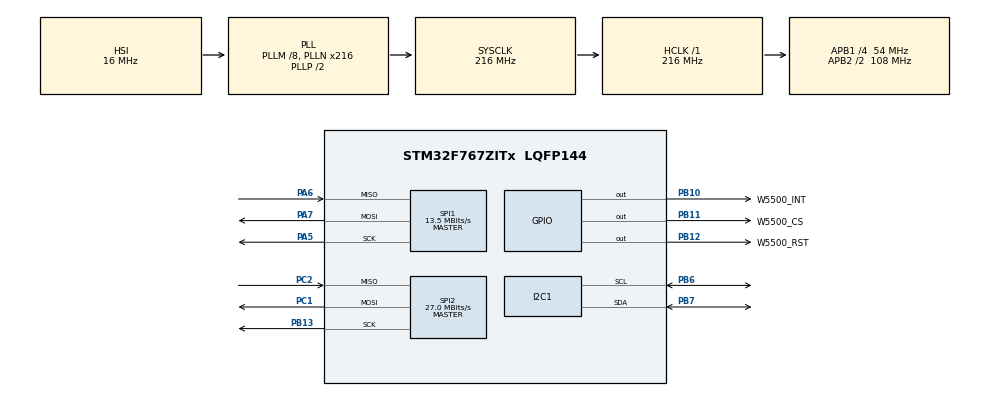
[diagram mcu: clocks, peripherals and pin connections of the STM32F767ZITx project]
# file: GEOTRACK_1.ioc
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CORTEX_M7.default_mode_Activation=1
I2C1.Timing=0x20404768
Mcu.Family=STM32F7
Mcu.Name=STM32F767ZITx
Mcu.Package=LQFP144
NVIC.PriorityGroup=NVIC_PRIORITYGROUP_4
PA5.Mode=Full_Duplex_Master
PA5.Signal=SPI1_SCK
PA6.Mode=Full_Duplex_Master
PA6.Signal=SPI1_MISO
PA7.Mode=Full_Duplex_Master
PA7.Signal=SPI1_MOSI
PB10.GPIO_Label=W5500_INT
PB10.Signal=GPIO_Output
PB11.GPIO_Label=W5500_CS
PB11.GPIO_PuPd=GPIO_PULLUP
PB11.Signal=GPIO_Output
PB12.GPIO_Label=W5500_RST
PB12.Signal=GPIO_Output
PB13.Mode=Full_Duplex_Master
PB13.Signal=SPI2_SCK
PB6.Mode=I2C
PB6.Signal=I2C1_SCL
PB7.Mode=I2C
PB7.Signal=I2C1_SDA
PC1.Mode=Full_Duplex_Master
PC1.Signal=SPI2_MOSI
PC14/OSC32_IN.Mode=LSE-External-Oscillator
PC14/OSC32_IN.Signal=RCC_OSC32_IN
PC15/OSC32_OUT.Mode=LSE-External-Oscillator
PC15/OSC32_OUT.Signal=RCC_OSC32_OUT
PC2.Mode=Full_Duplex_Master
PC2.Signal=SPI2_MISO
PH0/OSC_IN.Mode=HSE-External-Oscillator
PH0/OSC_IN.Signal=RCC_OSC_IN
PH1/OSC_OUT.Mode=HSE-External-Oscillator
PH1/OSC_OUT.Signal=RCC_OSC_OUT
ProjectManager.HeapSize=0x200
ProjectManager.StackSize=0x400
ProjectManager.TargetToolchain=MDK-ARM V5.32
RCC.AHBFreq_Value=216000000
RCC.APB1CLKDivider=RCC_HCLK_DIV4
RCC.APB1Freq_Value=54000000
RCC.APB1TimFreq_Value=108000000
RCC.APB2CLKDivider=RCC_HCLK_DIV2
RCC.APB2Freq_Value=108000000
RCC.APB2TimFreq_Value=216000000
RCC.CortexFreq_Value=216000000
RCC.HCLKFreq_Value=216000000
RCC.HSE_VALUE=25000000
RCC.HSI_VALUE=16000000
RCC.PLLM=8
RCC.PLLN=216
RCC.SYSCLKFreq_VALUE=216000000
RCC.SYSCLKSource=RCC_SYSCLKSOURCE_PLLCLK
RCC.USBFreq_Value=216000000
RCC.VCOOutputFreq_Value=432000000
SPI1.BaudRatePrescaler=SPI_BAUDRATEPRESCALER_8
SPI1.CalculateBaudRate=13.5 MBits/s
SPI1.DataSize=SPI_DATASIZE_8BIT
SPI1.Direction=SPI_DIRECTION_2LINES
SPI1.Mode=SPI_MODE_MASTER
SPI1.VirtualType=VM_MASTER
SPI2.CalculateBaudRate=27.0 MBits/s
SPI2.Direction=SPI_DIRECTION_2LINES
SPI2.Mode=SPI_MODE_MASTER
SPI2.VirtualType=VM_MASTER
board=custom

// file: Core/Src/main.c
/* USER CODE BEGIN Header */
/**
  ******************************************************************************
  * @file           : main.c
  * @brief          : Main program body
  ******************************************************************************
  * @attention
  *
  * Copyright (c) 2023 STMicroelectronics.
  * All rights reserved.
  *
  * This software is licensed under terms that can be found in the LICENSE file
  * in the root directory of this software component.
  * If no LICENSE file comes with this software, it is provided AS-IS.
  *
  ******************************************************************************
  */
/* USER CODE END Header */
#include "main.h"

/* USER CODE BEGIN Includes */
#include "wizchip_conf.h"
#include "socket.h"
#include "loopback.h"

#define HTTP_SOCKET 0
#define PORT_TCPS 5000
#define DATA_BUF_SIZE 2048
uint8_t gDATABUF [DATA_BUF_SIZE];

//cmd from pc names:
#define pcCmd_IP     (0x0001) // IP setting
#define pcCmd_MASK   (0x0002) // MASK setting
#define pcCmd_PORT   (0x0003) // PORT setting
#define pcCmd_RTC    (0x0004) // RTC setting
#define pcCmd_VERS   (0x0005) // Firmware Version setting
#define pcCmd_SRT    (0x0006) // Sample Rate setting
#define pcCmd_SNCH   (0x0007) // sensor - channel setting
#define pcCmd_PRS0   (0x0008) // pressure 0
#define pcCmd_PRS1   (0x000A) // pressure 1
#define pcCmd_WGHT   (0x000B) // weight
#define pcCmd_TRNS_R (0x000C) // turns (drum), read cmd
#define pcCmd_TRNS_W (0x000D) // turns (drum), write cmd
#define pcCmd_RESET  (0x000E) // reset device
#define pcCmd_WTIME  (0x000F) // find out the operating time of the device
#define pcCmd_LOGS   (0x0010) // get logs
#define pcCmd_HLTH   (0x0011) // get heath
#define pcCmd_RFD    (0x0012) // setting transmitted data to RFD (RFD MODE)
#define pcCmd_FUPD   (0x0013) // firmware update

/* USER CODE END Includes */

/* USER CODE BEGIN PTD */

uint16_t cmdFromPC = 0;

typedef struct {
  uint16_t deviceNumber; //device part number
	uint16_t sensorChannel;
	uint16_t pressure_0;
	uint16_t pressure_1;
	uint16_t weight;
	signed int turnsCounter; // max size -2147483648  +2147483647
	uint16_t pumpFrequency;
	uint16_t rfdMode;
} __attribute__((packed, aligned(1))) DataToPC_t;

const uint8_t image_data_MonoFont1_6x13[] =
{
0x00, 0x00, 0x00, 0x00, 0x00, 0x00, 0x00, 0x00, 0x00, 0x00, 0x00, 0x00,
0x00, 0x00, 0x00, 0x00, 0x00, 0x00, 0x00, 0x00, 0x00, 0x00, 0x00, 0x00,
0x00, 0x00, 0x00, 0x00, 0x00, 0x00, 0x00, 0x00, 0x00, 0x00, 0x00, 0x00,
0x00, 0x00, 0x00, 0x00, 0x00, 0x00, 0x00, 0x00, 0x00, 0x00, 0x00, 0x00,
0x00, 0x00, 0x00, 0x00, 0x00, 0x00, 0x00, 0x00, 0x00, 0x00, 0x00, 0x00,
0x00, 0x00, 0x00, 0x00, 0x00, 0x00, 0x00, 0x00, 0x00, 0x00, 0x00, 0x00,
0x00, 0x00, 0x00, 0x00, 0x00, 0x00, 0x00, 0x00, 0x00, 0x00, 0x00, 0x00,
0x00, 0x00, 0x00, 0x00, 0x00, 0x00, 0x00, 0x00, 0x00, 0x00, 0x00, 0x00,
0x00, 0x00, 0x00, 0x00, 0x00, 0x00, 0x00, 0x00, 0x00, 0x00, 0x00, 0x00,
0x00, 0x00, 0x00, 0x00, 0x00, 0x00, 0x00, 0x00, 0x00, 0x00, 0x00, 0x00,
0x00, 0x00, 0x00, 0x00, 0x00, 0x00, 0x00, 0x00, 0x00, 0x00, 0x00, 0x00,
0x00, 0x00, 0x00, 0x00, 0x00, 0x00, 0x00, 0x00, 0x00, 0x00, 0x00, 0x00,
0x00, 0x00, 0x00, 0x00, 0x00, 0x00, 0x00, 0x00, 0x00, 0x00, 0x00, 0x00,
0x00, 0x00, 0x00, 0x00, 0x00, 0x00, 0x00, 0x00, 0x00, 0x00, 0x00, 0x00,
0x00, 0x00, 0x00, 0x00, 0x00, 0x00, 0x00, 0x00, 0x00, 0x00, 0x00, 0x00,
0x00, 0x00, 0x00, 0x00, 0x00, 0x00, 0x00, 0x00, 0x00, 0x00, 0x00, 0x00,
0x00, 0x00, 0x00, 0x00, 0x00, 0x00, 0x00, 0x00, 0x00, 0x00, 0x00, 0x00,
0x00, 0x00, 0x00, 0x00, 0x00, 0x00, 0x00, 0x00, 0x00, 0x00, 0x00, 0x00,
0x00, 0x00, 0x00, 0x00, 0x00, 0x00, 0x00, 0x00, 0x00, 0x00, 0x00, 0x00,
0x00, 0x00, 0x00, 0x00, 0x00, 0x00, 0x00, 0x00, 0x00, 0x00, 0x00, 0x00,
0x00, 0x00, 0x00, 0x00, 0x00, 0x00, 0x00, 0x00, 0x00, 0x00, 0x00, 0x00,
0x00, 0x00, 0x00, 0x00, 0x00, 0x00, 0x00, 0x00, 0x00, 0x00, 0x00, 0x00,
0x00, 0x00, 0x00, 0x00, 0x00, 0x00, 0x00, 0x00, 0x00, 0x00, 0x00, 0x00,
0x00, 0x00, 0x00, 0x00, 0x00, 0x00, 0x00, 0x00, 0x00, 0x00, 0x00, 0x00,
0x00, 0x00, 0x00, 0x00, 0x00, 0x00, 0x00, 0x00, 0x00, 0x00, 0x00, 0x00,
0x00, 0x00, 0x00, 0x00, 0x00, 0x00, 0x00, 0x00, 0x00, 0x00, 0x00, 0x00,
0x00, 0x00, 0x00, 0x00, 0x00, 0x00, 0x00, 0x00, 0x00, 0x00, 0x00, 0x00,
0x00, 0x00, 0x00, 0x00, 0x00, 0x00, 0x00, 0x00, 0x00, 0x00, 0x00, 0x00,
0x00, 0x00, 0x00, 0x00, 0x00, 0x00, 0x00, 0x00, 0x00, 0x00, 0x00, 0x00,
0x00, 0x00, 0x00, 0x00, 0x00, 0x00, 0x00, 0x00, 0x00, 0x00, 0x00, 0x00,
0x00, 0x00, 0x00, 0x00, 0x00, 0x00, 0x00, 0x00, 0x00, 0x00, 0x00, 0x00,
0x00, 0x00, 0x00, 0x00, 0x00, 0x00, 0x00, 0x00, 0x00, 0x00, 0x00, 0x00,
0x00, 0x00, 0x00, 0x00, 0x00, 0x00, 0x00, 0x00, 0x00, 0x00, 0x00, 0x00,
0x00, 0x00, 0x00, 0xff, 0x00, 0x00, 0x00, 0x00, 0x00, 0x40, 0x00, 0x00,
0x00, 0x00, 0xc0, 0x40, 0x80, 0x00, 0x00, 0x00, 0x00, 0x00, 0x00, 0x00,
0x11, 0x1f, 0xf1, 0x13, 0xfd, 0x10, 0xc0, 0x00, 0x00, 0xc0, 0x00, 0x00,
0x00, 0x70, 0xdf, 0xfe, 0xc3, 0x00, 0x00, 0x40, 0xe0, 0xc0, 0x80, 0x00,
0x88, 0x73, 0x04, 0x18, 0x61, 0x82, 0xc0, 0x00, 0x00, 0x00, 0x80, 0x40,
0x43, 0xa4, 0xb8, 0xe4, 0x03, 0x03, 0x80, 0x40, 0x40, 0x40, 0x80, 0xc0,
0x00, 0x00, 0xe0, 0x00, 0x00, 0x00, 0x00, 0x00, 0x00, 0x00, 0x00, 0x00,
0x00, 0x00, 0x00, 0xff, 0x00, 0x00, 0x00, 0x00, 0x00, 0xe0, 0x00, 0x00,
0x00, 0x00, 0x00, 0xff, 0x00, 0x00, 0x00, 0x00, 0x00, 0xe0, 0x00, 0x00,
0x00, 0x40, 0xf0, 0xf0, 0x40, 0x00, 0x00, 0x00, 0x00, 0x00, 0x00, 0x00,
0x00, 0x02, 0x02, 0x07, 0x02, 0x02, 0x00, 0x00, 0x00, 0x80, 0x00, 0x00,
0x00, 0x00, 0x00, 0x00, 0x00, 0x00, 0x00, 0x00, 0x60, 0x00, 0x00, 0x00,
0x00, 0x00, 0x02, 0x02, 0x02, 0x02, 0x00, 0x00, 0x00, 0x00, 0x00, 0x00,
0x00, 0x00, 0x00, 0x00, 0x00, 0x00, 0x00, 0x00, 0x00, 0x40, 0x00, 0x00,
0x00, 0x03, 0x0c, 0x30, 0xc0, 0x00, 0xe0, 0x00, 0x00, 0x00, 0x00, 0x00,
0x00, 0x7f, 0x80, 0x80, 0x7f, 0x00, 0x00, 0x80, 0x40, 0x40, 0x80, 0x00,
0x00, 0x00, 0x20, 0x20, 0x7f, 0x00, 0x00, 0x00, 0x00, 0x00, 0xc0, 0x00,
0x00, 0x40, 0x83, 0x8c, 0x70, 0x00, 0x00, 0xc0, 0x40, 0x40, 0x40, 0x00,
0x00, 0x88, 0x88, 0x7c, 0x07, 0x00, 0x00, 0x40, 0x40, 0x40, 0x80, 0x00,
0x07, 0xf9, 0x01, 0x07, 0x01, 0x00, 0x00, 0x00, 0x00, 0xc0, 0x00, 0x00,
0x00, 0x00, 0xf8, 0x88, 0x88, 0x87, 0x00, 0x00, 0x40, 0x40, 0x40, 0x80,
0x3f, 0x48, 0x88, 0x88, 0x0c, 0x07, 0x80, 0x40, 0x40, 0x40, 0x40, 0x80,
0x00, 0xc0, 0x80, 0x80, 0x9f, 0xe0, 0x00, 0x00, 0x00, 0xc0, 0x00, 0x00,
0x07, 0x78, 0x88, 0x88, 0x78, 0x07, 0x80, 0x40, 0x40, 0x40, 0x40, 0x80,
0x00, 0x78, 0x84, 0x84, 0x85, 0x7e, 0x00, 0x00, 0x40, 0x40, 0x80, 0x00,
0x00, 0x00, 0x00, 0x11, 0x00, 0x00, 0x00, 0x00, 0x00, 0x00, 0x00, 0x00,
0x00, 0x00, 0x00, 0x04, 0x00, 0x00, 0x00, 0x00, 0x00, 0x60, 0x00, 0x00,
0x00, 0x00, 0x03, 0x03, 0x04, 0x04, 0x00, 0x00, 0x00, 0x00, 0x80, 0x80,
0x00, 0x05, 0x05, 0x05, 0x05, 0x00, 0x00, 0x00, 0x00, 0x00, 0x00, 0x00,
0x00, 0x00, 0x04, 0x02, 0x03, 0x01, 0x00, 0x00, 0x80, 0x80, 0x00, 0x00,
0x40, 0x80, 0x8f, 0x88, 0x70, 0x00, 0x00, 0x00, 0x40, 0x00, 0x00, 0x00,
0x61, 0x7f, 0xa1, 0xa1, 0xbf, 0x41, 0x80, 0x80, 0x40, 0x40, 0x40, 0x40,
0x00, 0x07, 0x3a, 0xe2, 0x1e, 0x01, 0x00, 0xc0, 0x00, 0x00, 0x00, 0xc0,
0x00, 0xff, 0x88, 0x88, 0x78, 0x07, 0x00, 0xc0, 0x40, 0x40, 0x40, 0x80,
0x00, 0x00, 0x7f, 0x80, 0x80, 0x80, 0x00, 0x00, 0x80, 0x40, 0x40, 0x40,
0x00, 0xff, 0x80, 0x80, 0x7f, 0x00, 0x00, 0xc0, 0x40, 0x40, 0x80, 0x00,
0x00, 0x00, 0xff, 0x88, 0x88, 0x80, 0x00, 0x00, 0xc0, 0x40, 0x40, 0x40,
0x00, 0x00, 0xff, 0x88, 0x88, 0x88, 0x00, 0x00, 0xc0, 0x00, 0x00, 0x00,
0x00, 0x7f, 0x80, 0x88, 0x8f, 0x00, 0x00, 0x80, 0x40, 0x40, 0xc0, 0x00,
0x00, 0xff, 0x08, 0x08, 0xff, 0x00, 0x00, 0xc0, 0x00, 0x00, 0xc0, 0x00,
0x00, 0x00, 0x00, 0xff, 0x00, 0x00, 0x00, 0x00, 0x00, 0xc0, 0x00, 0x00,
0x00, 0x00, 0x00, 0x00, 0xff, 0x00, 0x00, 0x40, 0x40, 0x40, 0x80, 0x00,
0x00, 0xff, 0x08, 0x1c, 0x63, 0x80, 0x00, 0xc0, 0x00, 0x00, 0x00, 0xc0,
0x00, 0x00, 0xff, 0x00, 0x00, 0x00, 0x00, 0x00, 0xc0, 0x40, 0x40, 0x40,
0xff, 0x60, 0x18, 0x18, 0x60, 0xff, 0xc0, 0x00, 0x00, 0x00, 0x00, 0xc0,
0x00, 0xff, 0x3c, 0x03, 0xff, 0x00, 0x00, 0xc0, 0x00, 0x00, 0xc0, 0x00,
0x00, 0x7f, 0x80, 0x80, 0x7f, 0x00, 0x00, 0x80, 0x40, 0x40, 0x80, 0x00,
0x00, 0xff, 0x84, 0x84, 0x78, 0x00, 0x00, 0xc0, 0x00, 0x00, 0x00, 0x00,
0x00, 0x7f, 0x80, 0x82, 0x81, 0x7f, 0x00, 0x80, 0x40, 0x40, 0x40, 0x80,
0x00, 0xff, 0x86, 0x85, 0x78, 0x00, 0x00, 0xc0, 0x00, 0x80, 0x40, 0x00,
0x00, 0x60, 0x98, 0x84, 0x82, 0x41, 0x00, 0x40, 0x40, 0x40, 0x40, 0x80,
0x00, 0x80, 0x80, 0xff, 0x80, 0x80, 0x00, 0x00, 0x00, 0xc0, 0x00, 0x00,
0x00, 0xff, 0x00, 0x00, 0xff, 0x00, 0x00, 0x80, 0x40, 0x40, 0x80, 0x00,
0x00, 0xf8, 0x07, 0x01, 0x1e, 0xe0, 0x00, 0x00, 0x00, 0xc0, 0x00, 0x00,
0x03, 0x07, 0x18, 0x0e, 0x01, 0x3f, 0xc0, 0x00, 0x00, 0x00, 0xc0, 0x00,
0x00, 0xc0, 0x33, 0x0c, 0x33, 0xc0, 0x00, 0xc0, 0x00, 0x00, 0x00, 0xc0,
0x00, 0xc0, 0x30, 0x0f, 0x30, 0xc0, 0x00, 0x00, 0x00, 0xc0, 0x00, 0x00,
0x00, 0x81, 0x86, 0x98, 0xe0, 0x80, 0x00, 0xc0, 0x40, 0x40, 0x40, 0x00,
0x00, 0x00, 0x00, 0xff, 0x80, 0x00, 0x00, 0x00, 0x00, 0xe0, 0x20, 0x00,
0xc0, 0x30, 0x0c, 0x03, 0x00, 0x00, 0x00, 0x00, 0x00, 0x00, 0xc0, 0x20,
0x00, 0x00, 0x00, 0xff, 0x00, 0x00, 0x00, 0x00, 0x20, 0xe0, 0x00, 0x00,
0x00, 0x00, 0x00, 0x00, 0x00, 0x00, 0x00, 0x00, 0x00, 0x00, 0x00, 0x00,
0x00, 0x00, 0x00, 0x00, 0x00, 0x00, 0x00, 0x10, 0x10, 0x10, 0x10, 0x10,
0x00, 0x00, 0x00, 0x80, 0x00, 0x00, 0x00, 0x00, 0x00, 0x00, 0x00, 0x00,
0x00, 0x00, 0x1f, 0x10, 0x1f, 0x00, 0x00, 0x00, 0xc0, 0x40, 0xc0, 0x40,
0x00, 0x00, 0xff, 0x10, 0x1f, 0x00, 0x00, 0x00, 0xc0, 0x40, 0xc0, 0x00,
0x00, 0x00, 0x1f, 0x10, 0x10, 0x10, 0x00, 0x00, 0xc0, 0x40, 0x40, 0x40,
0x00, 0x00, 0x1f, 0x10, 0xff, 0x00, 0x00, 0x00, 0xc0, 0x40, 0xc0, 0x00,
0x00, 0x00, 0x1f, 0x12, 0x1e, 0x00, 0x00, 0x00, 0xc0, 0x40, 0x40, 0x00,
0x00, 0x10, 0xff, 0x90, 0x00, 0x00, 0x00, 0x00, 0xc0, 0x00, 0x00, 0x00,
0x00, 0x00, 0x1f, 0x10, 0x1f, 0x00, 0x00, 0x00, 0xc8, 0x48, 0xf8, 0x00,
0x00, 0x00, 0xff, 0x10, 0x1f, 0x00, 0x00, 0x00, 0xc0, 0x00, 0xc0, 0x00,
0x00, 0x00, 0x00, 0x9f, 0x00, 0x00, 0x00, 0x00, 0x00, 0xc0, 0x00, 0x00,
0x00, 0x00, 0x00, 0x9f, 0x00, 0x00, 0x00, 0x00, 0x08, 0xf8, 0x00, 0x00,
0x00, 0x00, 0xff, 0x07, 0x08, 0x10, 0x00, 0x00, 0xc0, 0x00, 0xc0, 0x40,
0x00, 0x00, 0xff, 0x00, 0x00, 0x00, 0x00, 0x00, 0xc0, 0x40, 0x00, 0x00,
0x1f, 0x10, 0x10, 0x1f, 0x10, 0x1f, 0xc0, 0x00, 0x00, 0xc0, 0x00, 0xc0,
0x00, 0x00, 0x1f, 0x10, 0x1f, 0x00, 0x00, 0x00, 0xc0, 0x00, 0xc0, 0x00,
0x00, 0x00, 0x1f, 0x10, 0x1f, 0x00, 0x00, 0x00, 0xc0, 0x40, 0xc0, 0x00,
0x00, 0x00, 0x1f, 0x10, 0x1f, 0x00, 0x00, 0x00, 0xf8, 0x40, 0xc0, 0x00,
0x00, 0x00, 0x1f, 0x10, 0x1f, 0x00, 0x00, 0x00, 0xc0, 0x40, 0xf8, 0x00,
0x00, 0x00, 0x1f, 0x10, 0x10, 0x08, 0x00, 0x00, 0xc0, 0x00, 0x00, 0x00,
0x00, 0x00, 0x1c, 0x12, 0x11, 0x10, 0x00, 0x00, 0x40, 0x40, 0x40, 0x80,
0x00, 0x10, 0xff, 0x10, 0x00, 0x00, 0x00, 0x00, 0xc0, 0x00, 0x00, 0x00,
0x00, 0x00, 0x1f, 0x00, 0x1f, 0x00, 0x00, 0x00, 0xc0, 0x40, 0xc0, 0x00,
0x00, 0x00, 0x1e, 0x01, 0x0f, 0x10, 0x00, 0x00, 0x00, 0xc0, 0x00, 0x00,
0x1f, 0x01, 0x0e, 0x07, 0x00, 0x1f, 0x00, 0xc0, 0x00, 0x00, 0xc0, 0x00,
0x00, 0x00, 0x18, 0x07, 0x0d, 0x10, 0x00, 0x00, 0xc0, 0x00, 0x80, 0x40,
0x00, 0x00, 0x1f, 0x00, 0x0f, 0x10, 0x00, 0x00, 0x08, 0xf0, 0x00, 0x00,
0x00, 0x00, 0x11, 0x12, 0x1c, 0x10, 0x00, 0x00, 0xc0, 0x40, 0x40, 0x40,
0x00, 0x00, 0x04, 0xff, 0x80, 0x00, 0x00, 0x00, 0x00, 0xe0, 0x20, 0x00,
0x00, 0x00, 0x00, 0xff, 0x00, 0x00, 0x00, 0x00, 0x00, 0xc0, 0x00, 0x00,
0x00, 0x00, 0x80, 0xff, 0x04, 0x00, 0x00, 0x00, 0x20, 0xe0, 0x00, 0x00,
0x00, 0x02, 0x02, 0x02, 0x02, 0x00, 0x00, 0x00, 0x00, 0x00, 0x00, 0x00,
0x00, 0x00, 0x00, 0x00, 0x00, 0x00, 0x00, 0x00, 0x00, 0x00, 0x00, 0x00
};

tImage MonoFont1_6x13 = {image_data_MonoFont1_6x13,6,13};
/* USER CODE END PTD */

I2C_HandleTypeDef hi2c1;

SPI_HandleTypeDef hspi1;
SPI_HandleTypeDef hspi2;

/* USER CODE BEGIN PV */

//основные характеристики
static wiz_NetInfo NetConf = {
  {0x0c,0x29,0xab,0x7c,0x04,0x02},  // mac address
  { 192, 168, 0, 113 },             // Local IP address
  { 255, 255, 255, 0 },             // Subnet mask
  { 192, 168, 0, 1 },               // Gateway address
  { 192, 168, 0, 1 },               // DNS server address
  NETINFO_STATIC                    // Use static IP
};

//wiz_NetInfo gWIZNETINFO = { .mac = { 0x4B,0xAA,0xBB,0xCC,0xDD,0xEE},
//								.ip = { 192, 168, 0, 113 },
//								.sn = { 255, 255, 255, 0 },
//					      .gw = { 192, 168, 0, 1 },
//					      //.gw = {46, 191, 230, 1},
//								//.dns = { 89, 189, 156, 5},
//								.dns = { 192, 168, 0, 1 },
//					      .dhcp = NETINFO_STATIC };

volatile wiz_PhyConf phyConf =
{
  PHY_CONFBY_HW,       // PHY_CONFBY_SW
  PHY_MODE_MANUAL,     // PHY_MODE_AUTONEGO
  PHY_SPEED_10,        // PHY_SPEED_100
  PHY_DUPLEX_FULL,     // PHY_DUPLEX_HALF
};

/* USER CODE END PV */

void SystemClock_Config(void);
static void MPU_Config(void);
static void MX_GPIO_Init(void);
static void MX_SPI1_Init(void);
static void MX_SPI2_Init(void);
static void MX_I2C1_Init(void);

/* USER CODE BEGIN 0 */

void configNet(){
  wiz_NetInfo conf;
  // Configure network address
  ctlnetwork(CN_SET_NETINFO,(void *)&NetConf);
  // read back
  ctlnetwork(CN_GET_NETINFO,(void *)&conf);
  if(memcmp(&conf,&NetConf,sizeof(wiz_NetInfo)) == 0){
    // Successful configuration
  }else{
    // configuration failed
  }
}

void W5500_select() {
	HAL_GPIO_WritePin(W5500_CS_GPIO_Port, W5500_CS_Pin, GPIO_PIN_RESET); //CS LOW
}

void W5500_unselect() {
	HAL_GPIO_WritePin(W5500_CS_GPIO_Port, W5500_CS_Pin, GPIO_PIN_SET); //CS HIGH
}

void W5500_ReadBuff(uint8_t* buff, uint16_t len)
{
	HAL_SPI_Receive(&hspi1, buff, len, HAL_MAX_DELAY);
}

void W5500_WriteBuff(uint8_t* buff, uint16_t len)
{
	HAL_SPI_Transmit(&hspi1, buff, len, HAL_MAX_DELAY);
}

uint8_t W5500_ReadByte(void)
{
	uint8_t byte;
	W5500_ReadBuff(&byte, sizeof(byte));
	return byte;
}

void W5500_WriteByte(uint8_t byte)
{
	W5500_WriteBuff(&byte, sizeof(byte));
}

void W5500_reset(){
	HAL_GPIO_WritePin(W5500_RST_GPIO_Port, W5500_RST_Pin, GPIO_PIN_RESET);
	HAL_Delay(5);
	HAL_GPIO_WritePin(W5500_RST_GPIO_Port, W5500_RST_Pin, GPIO_PIN_SET);
	HAL_Delay(1000);
}

uint8_t stat;
uint8_t reqnr;
char Message[128];
char inputMessage[128];

/* USER CODE END 0 */

int main(void)
{

  /* MPU Configuration--------------------------------------------------------*/
  MPU_Config();

  /* MCU Configuration--------------------------------------------------------*/

  /* Reset of all peripherals, Initializes the Flash interface and the Systick. */
  HAL_Init();

  /* Configure the system clock */
  SystemClock_Config();

  /* Initialize all configured peripherals */
  MX_GPIO_Init();
  MX_SPI1_Init();
  MX_SPI2_Init();
  MX_I2C1_Init();
  /* USER CODE BEGIN 2 */

	W5500_reset();
	reg_wizchip_cs_cbfunc(W5500_select, W5500_unselect);
  reg_wizchip_spi_cbfunc(W5500_ReadByte, W5500_WriteByte);
	reg_wizchip_spiburst_cbfunc(W5500_ReadBuff, W5500_WriteBuff);

	uint8_t ar[16] = {2,2,2,2,2,2,2,2,2,2,2,2,2,2,2,2}; // All send and receive buffers are set to 2KB (default)
	ctlwizchip(CW_INIT_WIZCHIP,ar);

	uint8_t rx_tx_buff_sizes[] = {2, 2, 2, 2, 2, 2, 2, 2};
	wizchip_init(rx_tx_buff_sizes, rx_tx_buff_sizes);
	configNet();

	//configuration displays
	SSD1306_RESET();           //Перезапуск настроек дисплея
	SSD1306_INIT();            //Инициализация дисплея
	setColor(SSD1306_WHITE);   //Установить цвет точек дисплея
	setFont(MonoFont1_6x13);   //Установка шрифта

	SSD1306_COMMAND(0xC8);	//(0xC0)	 //Установка положения надписи
	SSD1306_COMMAND(0xA1);  //(0xA0)   //Установка положения надписи

	ssd1306_clear_display();
	setCursor(0,0);
	drawRectangle(128,32);

	setCursor(1,5);
	printString("Track Test V.1");
	ssd1306_draw_display();
  /* USER CODE END 2 */

  /* Infinite loop */
  /* USER CODE BEGIN WHILE */
  while (1)
  {
		HAL_GPIO_TogglePin(GPIOB,GPIO_PIN_7);
		printf("Creating socket...\r\n");
		//открытие TCP сокета
		stat = socket(HTTP_SOCKET, Sn_MR_TCP, PORT_TCPS, 0);
		if(stat != HTTP_SOCKET) printf("socket() failed, code = %d\r\n", stat);
			else printf("Socket created, connecting...\r\n");
		//открытие соединения

		stat = listen(HTTP_SOCKET);
			if(stat != SOCK_OK) printf("listen() failed, code = %d\r\n", stat);
    else printf("listen() OK\r\n");

		while(getSn_SR(HTTP_SOCKET) == SOCK_LISTEN)
    {
			HAL_Delay(10);
    }

		printf("Input connection! socket state = %x\r\n", getSn_SR(HTTP_SOCKET));
		if(getSn_SR(HTTP_SOCKET) != SOCK_ESTABLISHED) printf("Error socket status\r\n");
		uint8_t rIP[4];
		uint16_t remotePort;
		getsockopt(HTTP_SOCKET, SO_DESTIP, rIP);
		getsockopt(HTTP_SOCKET, SO_DESTPORT, (uint8_t*)&remotePort);
		printf("IP:  %d.%d.%d.%d  PORT: %u\r\n", rIP[0], rIP[1], rIP[2], rIP[3], remotePort);

		sprintf(Message, "Connected to SOKOL BOX!\r\n");
		send(HTTP_SOCKET, (uint8_t*)Message, strlen(Message));
		printf("sended to client: %s\r\n", Message);

		while ((getSn_SR(HTTP_SOCKET) == SOCK_ESTABLISHED)|(getSn_SR(HTTP_SOCKET) == SOCK_SYNRECV)) {
			int32_t nbytes = recv(HTTP_SOCKET, (uint8_t*)inputMessage, sizeof(inputMessage)-1);

			sprintf(Message, "echo: %s\r\n", inputMessage);
			send(HTTP_SOCKET, (uint8_t*)Message, strlen(Message));

			printf("cmd from client: %s, b = %x\r\n", inputMessage, nbytes);
		}
		disconnect(HTTP_SOCKET);
		close(HTTP_SOCKET);

//
			printf("Closing socket.\r\n");

//
			HAL_Delay(1000);
//		reqnr++;

    /* USER CODE END WHILE */

  }
}

void SystemClock_Config(void)
{
  RCC_OscInitTypeDef RCC_OscInitStruct = {0};
  RCC_ClkInitTypeDef RCC_ClkInitStruct = {0};

  /** Configure LSE Drive Capability
  */
  HAL_PWR_EnableBkUpAccess();

  /** Configure the main internal regulator output voltage
  */
  __HAL_RCC_PWR_CLK_ENABLE();
  __HAL_PWR_VOLTAGESCALING_CONFIG(PWR_REGULATOR_VOLTAGE_SCALE1);

  /** Initializes the RCC Oscillators according to the specified parameters
  * in the RCC_OscInitTypeDef structure.
  */
  RCC_OscInitStruct.OscillatorType = RCC_OSCILLATORTYPE_HSI;
  RCC_OscInitStruct.HSIState = RCC_HSI_ON;
  RCC_OscInitStruct.HSICalibrationValue = RCC_HSICALIBRATION_DEFAULT;
  RCC_OscInitStruct.PLL.PLLState = RCC_PLL_ON;
  RCC_OscInitStruct.PLL.PLLSource = RCC_PLLSOURCE_HSI;
  RCC_OscInitStruct.PLL.PLLM = 8;
  RCC_OscInitStruct.PLL.PLLN = 216;
  RCC_OscInitStruct.PLL.PLLP = RCC_PLLP_DIV2;
  RCC_OscInitStruct.PLL.PLLQ = 2;
  RCC_OscInitStruct.PLL.PLLR = 2;
  if (HAL_RCC_OscConfig(&RCC_OscInitStruct) != HAL_OK)
  {
    Error_Handler();
  }

  /** Activate the Over-Drive mode
  */
  if (HAL_PWREx_EnableOverDrive() != HAL_OK)
  {
    Error_Handler();
  }

  /** Initializes the CPU, AHB and APB buses clocks
  */
  RCC_ClkInitStruct.ClockType = RCC_CLOCKTYPE_HCLK|RCC_CLOCKTYPE_SYSCLK
                              |RCC_CLOCKTYPE_PCLK1|RCC_CLOCKTYPE_PCLK2;
  RCC_ClkInitStruct.SYSCLKSource = RCC_SYSCLKSOURCE_PLLCLK;
  RCC_ClkInitStruct.AHBCLKDivider = RCC_SYSCLK_DIV1;
  RCC_ClkInitStruct.APB1CLKDivider = RCC_HCLK_DIV4;
  RCC_ClkInitStruct.APB2CLKDivider = RCC_HCLK_DIV2;

  if (HAL_RCC_ClockConfig(&RCC_ClkInitStruct, FLASH_LATENCY_7) != HAL_OK)
  {
    Error_Handler();
  }
}

static void MX_I2C1_Init(void)
{

  hi2c1.Instance = I2C1;
  hi2c1.Init.Timing = 0x20404768;
  hi2c1.Init.OwnAddress1 = 0;
  hi2c1.Init.AddressingMode = I2C_ADDRESSINGMODE_7BIT;
  hi2c1.Init.DualAddressMode = I2C_DUALADDRESS_DISABLE;
  hi2c1.Init.OwnAddress2 = 0;
  hi2c1.Init.OwnAddress2Masks = I2C_OA2_NOMASK;
  hi2c1.Init.GeneralCallMode = I2C_GENERALCALL_DISABLE;
  hi2c1.Init.NoStretchMode = I2C_NOSTRETCH_DISABLE;
  if (HAL_I2C_Init(&hi2c1) != HAL_OK)
  {
    Error_Handler();
  }

  /** Configure Analogue filter
  */
  if (HAL_I2CEx_ConfigAnalogFilter(&hi2c1, I2C_ANALOGFILTER_ENABLE) != HAL_OK)
  {
    Error_Handler();
  }

  /** Configure Digital filter
  */
  if (HAL_I2CEx_ConfigDigitalFilter(&hi2c1, 0) != HAL_OK)
  {
    Error_Handler();
  }

}

static void MX_SPI1_Init(void)
{

  /* SPI1 parameter configuration*/
  hspi1.Instance = SPI1;
  hspi1.Init.Mode = SPI_MODE_MASTER;
  hspi1.Init.Direction = SPI_DIRECTION_2LINES;
  hspi1.Init.DataSize = SPI_DATASIZE_8BIT;
  hspi1.Init.CLKPolarity = SPI_POLARITY_LOW;
  hspi1.Init.CLKPhase = SPI_PHASE_1EDGE;
  hspi1.Init.NSS = SPI_NSS_SOFT;
  hspi1.Init.BaudRatePrescaler = SPI_BAUDRATEPRESCALER_8;
  hspi1.Init.FirstBit = SPI_FIRSTBIT_MSB;
  hspi1.Init.TIMode = SPI_TIMODE_DISABLE;
  hspi1.Init.CRCCalculation = SPI_CRCCALCULATION_DISABLE;
  hspi1.Init.CRCPolynomial = 7;
  hspi1.Init.CRCLength = SPI_CRC_LENGTH_DATASIZE;
  hspi1.Init.NSSPMode = SPI_NSS_PULSE_ENABLE;
  if (HAL_SPI_Init(&hspi1) != HAL_OK)
  {
    Error_Handler();
  }

}

static void MX_SPI2_Init(void)
{

  /* SPI2 parameter configuration*/
  hspi2.Instance = SPI2;
  hspi2.Init.Mode = SPI_MODE_MASTER;
  hspi2.Init.Direction = SPI_DIRECTION_2LINES;
  hspi2.Init.DataSize = SPI_DATASIZE_4BIT;
  hspi2.Init.CLKPolarity = SPI_POLARITY_LOW;
  hspi2.Init.CLKPhase = SPI_PHASE_1EDGE;
  hspi2.Init.NSS = SPI_NSS_SOFT;
  hspi2.Init.BaudRatePrescaler = SPI_BAUDRATEPRESCALER_2;
  hspi2.Init.FirstBit = SPI_FIRSTBIT_MSB;
  hspi2.Init.TIMode = SPI_TIMODE_DISABLE;
  hspi2.Init.CRCCalculation = SPI_CRCCALCULATION_DISABLE;
  hspi2.Init.CRCPolynomial = 7;
  hspi2.Init.CRCLength = SPI_CRC_LENGTH_DATASIZE;
  hspi2.Init.NSSPMode = SPI_NSS_PULSE_ENABLE;
  if (HAL_SPI_Init(&hspi2) != HAL_OK)
  {
    Error_Handler();
  }

}

static void MX_GPIO_Init(void)
{
  GPIO_InitTypeDef GPIO_InitStruct = {0};

  /* GPIO Ports Clock Enable */
  __HAL_RCC_GPIOC_CLK_ENABLE();
  __HAL_RCC_GPIOH_CLK_ENABLE();
  __HAL_RCC_GPIOA_CLK_ENABLE();
  __HAL_RCC_GPIOB_CLK_ENABLE();

  /*Configure GPIO pin Output Level */
  HAL_GPIO_WritePin(GPIOB, W5500_INT_Pin|W5500_CS_Pin|W5500_RST_Pin, GPIO_PIN_RESET);

  /*Configure GPIO pins : W5500_INT_Pin W5500_RST_Pin */
  GPIO_InitStruct.Pin = W5500_INT_Pin|W5500_RST_Pin;
  GPIO_InitStruct.Mode = GPIO_MODE_OUTPUT_PP;
  GPIO_InitStruct.Pull = GPIO_NOPULL;
  GPIO_InitStruct.Speed = GPIO_SPEED_FREQ_LOW;
  HAL_GPIO_Init(GPIOB, &GPIO_InitStruct);

  /*Configure GPIO pin : W5500_CS_Pin */
  GPIO_InitStruct.Pin = W5500_CS_Pin;
  GPIO_InitStruct.Mode = GPIO_MODE_OUTPUT_PP;
  GPIO_InitStruct.Pull = GPIO_PULLUP;
  GPIO_InitStruct.Speed = GPIO_SPEED_FREQ_LOW;
  HAL_GPIO_Init(W5500_CS_GPIO_Port, &GPIO_InitStruct);

}

/* MPU Configuration */

void MPU_Config(void)
{
  MPU_Region_InitTypeDef MPU_InitStruct = {0};

  /* Disables the MPU */
  HAL_MPU_Disable();

  /** Initializes and configures the Region and the memory to be protected
  */
  MPU_InitStruct.Enable = MPU_REGION_ENABLE;
  MPU_InitStruct.Number = MPU_REGION_NUMBER0;
  MPU_InitStruct.BaseAddress = 0x0;
  MPU_InitStruct.Size = MPU_REGION_SIZE_4GB;
  MPU_InitStruct.SubRegionDisable = 0x87;
  MPU_InitStruct.TypeExtField = MPU_TEX_LEVEL0;
  MPU_InitStruct.AccessPermission = MPU_REGION_NO_ACCESS;
  MPU_InitStruct.DisableExec = MPU_INSTRUCTION_ACCESS_DISABLE;
  MPU_InitStruct.IsShareable = MPU_ACCESS_SHAREABLE;
  MPU_InitStruct.IsCacheable = MPU_ACCESS_NOT_CACHEABLE;
  MPU_InitStruct.IsBufferable = MPU_ACCESS_NOT_BUFFERABLE;

  HAL_MPU_ConfigRegion(&MPU_InitStruct);
  /* Enables the MPU */
  HAL_MPU_Enable(MPU_PRIVILEGED_DEFAULT);

}

void Error_Handler(void)
{
  __disable_irq();
  while (1)
  {
  }
}
